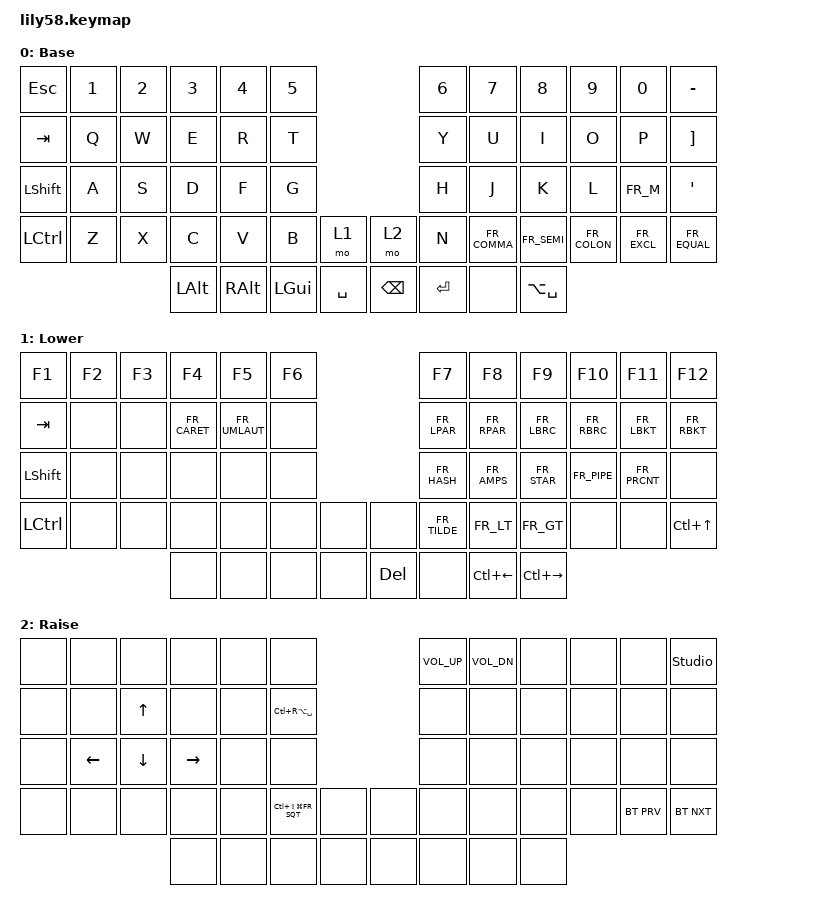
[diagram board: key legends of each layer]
/*
 * Copyright (c) 2020 The ZMK Contributors
 *
 * SPDX-License-Identifier: MIT
 */

#include <behaviors.dtsi>
#include <dt-bindings/zmk/keys.h>
#include <dt-bindings/zmk/bt.h>
#include <dt-bindings/zmk/ext_power.h>
#include "keys_fr.h"

/ {
    keymap {
        compatible = "zmk,keymap";

        default_layer {
// ------------------------------------------------------------------------------------------------------------
// |  ESC  |  1  |  2  |  3   |  4   |  5   |                   |  6   |  7    |  8    |  9   |   0   |   `?  |
// |  TAB  |  A  |  Z  |  E   |  R   |  T   |                   |  Y   |  U    |  I    |  O   |   P   |   -?  |
// |  CTRL |  Q  |  S  |  D   |  F   |  G   |                   |  H   |  J    |  K    |  L   |   M   |   '?  |
// | SHIFT |  W  |  X  |  C   |  V   |  B   |  LOWER |  | RAISE |  N   |  ,    |  ;    |  :   |   =   |   *   |
//                     | ALT  | RIGHT|  GUI |  SPACE |  | BSPC  | ENTER| XXXX  |launchr|
            display-name = "Base";
            bindings = <
&kp ESC   &kp N1 &kp N2 &kp N3   &kp N4   &kp N5                     &kp N6  &kp N7       &kp N8      &kp N9       &kp N0       &kp MINUS
&kp TAB   &kp Q  &kp W  &kp E    &kp R    &kp T                      &kp Y   &kp U        &kp I       &kp O        &kp P        &kp RBKT
&kp LSHFT &kp A  &kp S  &kp D    &kp F    &kp G                      &kp H   &kp J        &kp K       &kp L        &kp FR_M     &kp SQT
&kp LCTRL &kp Z  &kp X  &kp C    &kp V    &kp B  &mo 1      &mo 2    &kp N   &kp FR_COMMA &kp FR_SEMI &kp FR_COLON &kp FR_EXCL  &kp FR_EQUAL
                     &kp LALT &kp RALT &kp LGUI  &kp SPACE  &kp BSPC &kp RET &none        &kp LA(SPACE)
            >;
        };

        lower_layer {
// ------------------------------------------------------------------------------------------------------------
// |  F1   |  F2 |  F3 |  F4  |  F5  |  F6  |                   |  F7  |  F8   |  F9   |  F10 |  F11  |  F12  |
// |       |     |     |  ^   |  ¨   |      |                   |  (   |  )    |  {    |  }   |  [    |  ]    |
// |       |     |     |      |      |      |                   |  #   |  &    |  *    | "|"  |   %   |       |
// |       |     |     |      |      |      |        |  |       |  ~   |  <    |  >    |      |       |       |
//                     |      |      |      |        |  |  DEL  |      |scr <- | -> scr|
            display-name = "Lower";
            bindings = <
&kp F1     &kp F2           &kp F3            &kp F4            &kp F5        &kp F6                       &kp F7       &kp F8       &kp F9      &kp F10     &kp F11      &kp F12
&kp TAB    &none            &none             &kp FR_CARET      &kp FR_UMLAUT &none                        &kp FR_LPAR  &kp FR_RPAR  &kp FR_LBRC &kp FR_RBRC &kp FR_LBKT  &kp FR_RBKT
&kp LSHFT  &none            &none             &none             &none         &none                        &kp FR_HASH  &kp FR_AMPS  &kp FR_STAR &kp FR_PIPE &kp FR_PRCNT &none
&kp LCTRL  &none            &none             &none             &none         &none     &none    &none     &kp FR_TILDE &kp FR_LT    &kp FR_GT   &none       &none        &kp LC(UP)
                                              &none             &none         &none     &none    &kp DEL   &none        &kp LC(LEFT) &kp LC(RIGHT)
            >;
        };

        raise_layer {
// ------------------------------------------------------------------------------------------------------------
// |       |     |     |      |      |      |                   |VOL UP|VOL DN |       |      |       |ZMK STD|
// |       |     |  ↑  |      |      |iterm |                   |      |       |       |      |       |       |
// |       |  <- |  ↓  |  ->  |      |      |                   |      |       |       |      |       |       |
// |       |     |     |      |      |screen|        |  |       |      |       |       |      |BT PREV|BT NEXT|
//                     |      |      |      |        |  |       |      |       |       |
            display-name = "Raise";
            bindings = <
&none    &none    &none    &none     &none    &none                                                   &kp C_VOL_UP &kp C_VOL_DN &none    &none    &none    &studio_unlock
&none    &none    &kp UP   &none     &none    &kp LC(RA(SPACE))                                       &none        &none        &none    &none    &none    &none
&none    &kp LEFT &kp DOWN &kp RIGHT &none    &none                                                   &none        &none        &none    &none    &none    &none
&none    &none    &none    &none     &none    &kp LC(LS(LG(FR_SQT)))   &none                &none     &none        &none        &none    &none    &bt BT_PRV  &bt BT_NXT
                           &none     &none    &none                    &none                &none     &none        &none        &none
            >;
        };
    };
};
